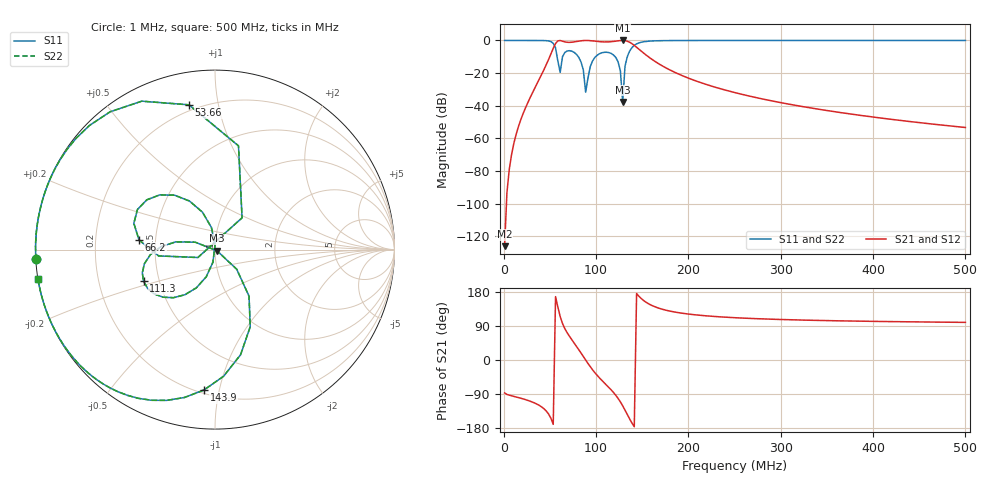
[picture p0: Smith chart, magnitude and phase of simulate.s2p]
# HZ S RI R 50
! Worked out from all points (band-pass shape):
!   200 points, 1 MHz to 500 MHz, reference 50 ohm
!   highest |S21| = 0.00 dB at 128.9 MHz (marker M1); lowest = -126.1 dB at 1 MHz (marker M2)
!   |S21| within 3 dB of the highest: 55.22 MHz to 141.4 MHz (86.2 MHz wide, 87.7 % of centre)
!   lowest |S11| = -37.7 dB at 128.9 MHz (marker M3), VSWR 1.03, Z = 51.1 - j0.684 ohm
!   |S11| at or under -10 dB: 57.85 MHz to 63.69 MHz (5.836 MHz wide, 9.6 % of centre); 80.83 MHz to 99.52 MHz (18.69 MHz wide, 20.7 % of centre); 120.7 MHz to 133.8 MHz (13.1 MHz wide, 10.3 % of centre)
!   |S22| runs from -37.7 to 0.0 dB; largest |S21 - S12| = 0
!   S11 on the Smith chart (normalised r, x): 1 MHz: 0.00, -0.03; 53.66 MHz: 0.17, +0.82; 66.2 MHz: 0.40, +0.05; 111.3 MHz: 0.41, -0.18; 143.9 MHz: 0.22, -0.90; 500 MHz: 0.00, -0.08
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1000000  -0.9986 -0.0538  2.68e-08 -4.97e-07  2.68e-08 -4.97e-07  -0.9986 -0.0538
6015075  -0.9988 0.0487  -5.37e-06 -0.00011  -5.37e-06 -0.00011  -0.9988 0.0487
1.604523e7  -0.9871 0.1599  -0.000372 -0.00229  -0.000372 -0.00229  -0.9871 0.1599
4.11206e7  -0.8267 0.5552  -0.0508 -0.0756  -0.0508 -0.0756  -0.8267 0.5552
5.365829e7  -0.1453 0.8066  -0.5638 -0.1015  -0.5638 -0.1015  -0.1453 0.8066
6.11809e7  -0.0954 -0.044  -0.4168 0.9029  -0.4168 0.9029  -0.0954 -0.044
6.619598e7  -0.4231 0.0533  0.113 0.8974  0.113 0.8974  -0.4231 0.0533
7.873367e7  -0.2252 0.303  0.7432 0.5523  0.7432 0.5523  -0.2252 0.303
8.625628e7  -0.0199 0.123  0.9795 0.1582  0.9795 0.1582  -0.0199 0.123
8.876382e7  5.04e-05 0.0261  0.9997 -0.00193  0.9997 -0.00193  5.04e-05 0.0261
9.628643e7  -0.1039 -0.213  0.8731 -0.4261  0.8731 -0.4261  -0.1039 -0.213
1.113317e8  -0.3982 -0.176  0.3639 -0.8234  0.3639 -0.8234  -0.3982 -0.176
1.238693e8  -0.2179 0.0434  -0.1906 -0.9562  -0.1906 -0.9562  -0.2179 0.0434
1.263769e8  -0.1096 0.0411  -0.3485 -0.93  -0.3485 -0.93  -0.1096 0.0411
1.288844e8  0.0112 -0.00669  -0.513 -0.8583  -0.513 -0.8583  0.0112 -0.00669
1.31392e8  0.1211 -0.1094  -0.6616 -0.7319  -0.6616 -0.7319  0.1211 -0.1094
1.439296e8  -0.0612 -0.7821  -0.6183 0.0484  -0.6183 0.0484  -0.0612 -0.7821
1.69005e8  -0.6835 -0.7061  -0.1328 0.1285  -0.1328 0.1285  -0.6835 -0.7061
2.517538e8  -0.9307 -0.365  -0.00902 0.023  -0.00902 0.023  -0.9307 -0.365
3.345025e8  -0.9671 -0.2542  -0.00213 0.0081  -0.00213 0.0081  -0.9671 -0.2542
4.172513e8  -0.9804 -0.1971  -0.00077 0.00383  -0.00077 0.00383  -0.9804 -0.1971
5e8  -0.9869 -0.1616  -0.000348 0.00213  -0.000348 0.00213  -0.9869 -0.1616
